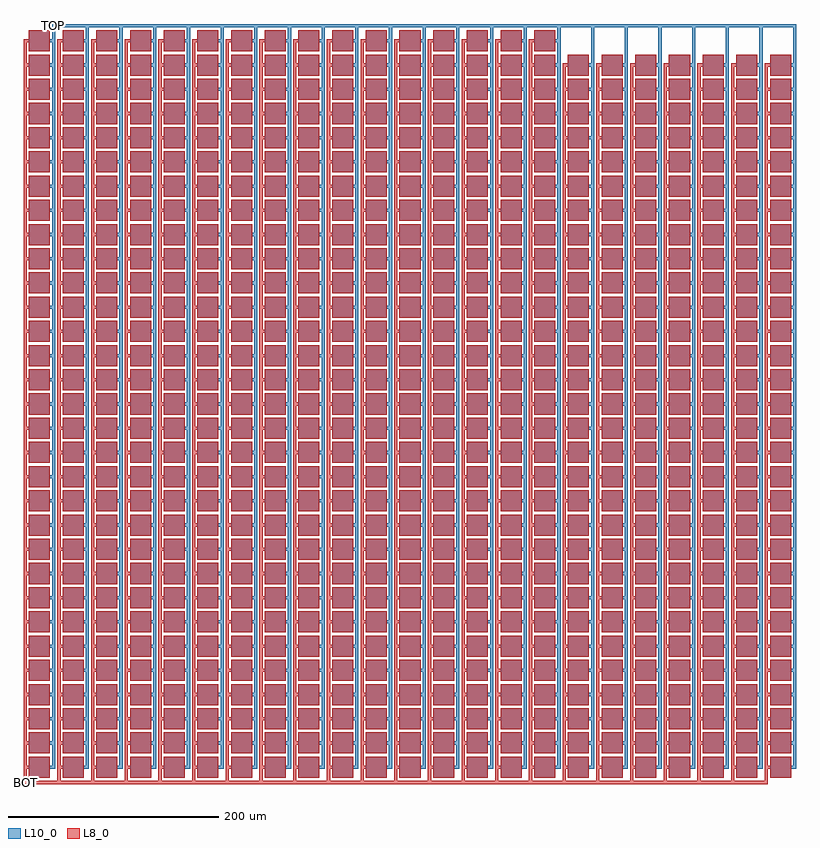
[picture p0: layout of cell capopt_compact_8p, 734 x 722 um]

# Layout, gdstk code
import gdstk
lib = gdstk.Library(unit=1e-6, precision=1e-09)
def R(c, l, rs):  # rectangles x0, y0, x1, y1
    for r in rs: c.add(gdstk.rectangle(r[:2], r[2:], *l))
def A(c, l, x, y, w, h, nx, ny, dx, dy):  # array of equal rectangles
    R(c, l, [(x+i*dx, y+j*dy, x+i*dx+w, y+j*dy+h) for i in range(nx) for j in range(ny)])
L8_0 = (8, 0)
L10_0 = (10, 0)

capopt_compact_8p = lib.new_cell('capopt_compact_8p')
A(capopt_compact_8p, L8_0, -5, -6, 3, 707.5, 16, 1, 32, 0)
A(capopt_compact_8p, L8_0, 507, -6, 3, 684.5, 7, 1, 32, 0)
A(capopt_compact_8p, L8_0, 0, 0, 20, 20, 23, 30, 32, 23)
A(capopt_compact_8p, L8_0, -5, 8.5, 5, 3, 23, 30, 32, 23)
A(capopt_compact_8p, L8_0, 0, 690, 20, 20, 16, 1, 32, 0)
A(capopt_compact_8p, L8_0, -5, 698.5, 5, 3, 16, 1, 32, 0)
R(capopt_compact_8p, L8_0, [(-5,-6,702,-3)])
A(capopt_compact_8p, L10_0, 0, 0, 20, 20, 23, 30, 32, 23)
A(capopt_compact_8p, L10_0, 20, 8.5, 5, 3, 23, 30, 32, 23)
A(capopt_compact_8p, L10_0, 22, 8.5, 3, 707.5, 23, 1, 32, 0)
A(capopt_compact_8p, L10_0, 0, 690, 20, 20, 16, 1, 32, 0)
A(capopt_compact_8p, L10_0, 20, 698.5, 5, 3, 16, 1, 32, 0)
R(capopt_compact_8p, L10_0, [(22,713,729,716)])
capopt_compact_8p.add(gdstk.Label('BOT', (-3.5,-4.5), layer=8, texttype=7))
capopt_compact_8p.add(gdstk.Label('TOP', (23.5,714.5), layer=10, texttype=7))

lib.write_gds('capopt_compact_8p.gds')
